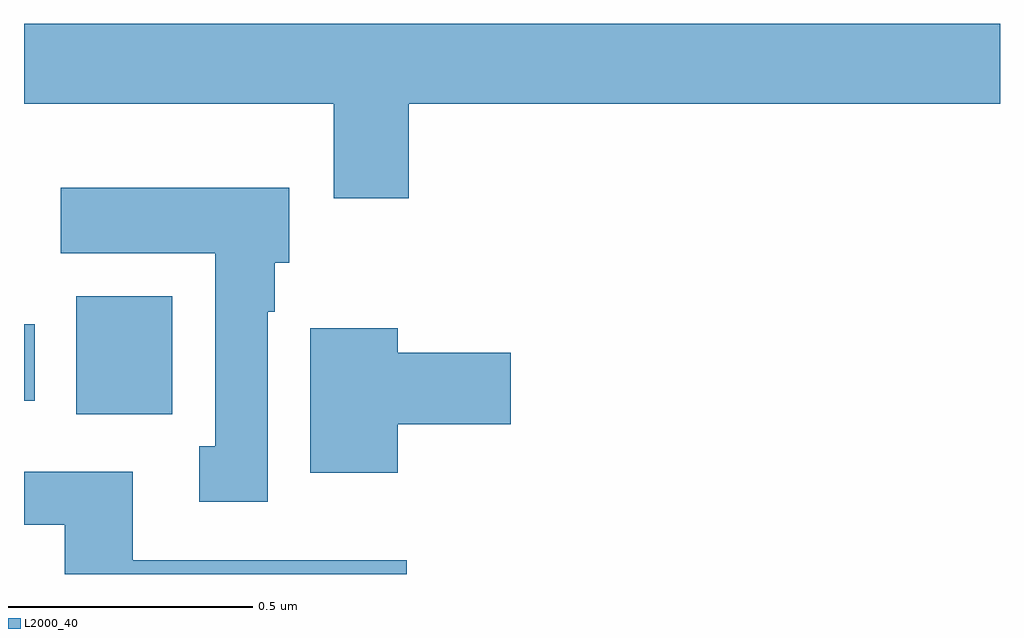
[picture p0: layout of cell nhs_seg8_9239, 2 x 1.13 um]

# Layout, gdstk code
import gdstk
lib = gdstk.Library(unit=1e-6, precision=1e-09)
def R(c, l, rs):  # rectangles x0, y0, x1, y1
    for r in rs: c.add(gdstk.rectangle(r[:2], r[2:], *l))
def P(c, l, *ps):  # polygons
    for p in ps: c.add(gdstk.Polygon(p, *l))
L2000_40 = (2000, 40)

nhs_seg8_9239 = lib.new_cell('nhs_seg8_9239')
R(nhs_seg8_9239, L2000_40, [(234.107,1085.228,234.304,1085.47), (234,1085.256,234.022,1085.412)])
P(nhs_seg8_9239, L2000_40, [(234.788,1085.864),(236,1085.864),(236,1086.028),(234,1086.028),(234,1085.864),(234.635,1085.864),(234.635,1085.67),(234.788,1085.67)],
  [(234.499,1085.438),(234.514,1085.438),(234.514,1085.538),(234.544,1085.538),(234.544,1085.692),(234.075,1085.692),(234.075,1085.558),(234.392,1085.558),(234.392,1085.162),(234.359,1085.162),(234.359,1085.049),(234.499,1085.049)],
  [(234.766,1085.207),(234.997,1085.207),(234.997,1085.354),(234.766,1085.354),(234.766,1085.404),(234.587,1085.404),(234.587,1085.108),(234.766,1085.108)],
  [(234.784,1084.929),(234.223,1084.929),(234.223,1085.11),(234,1085.11),(234,1085.001),(234.083,1085.001),(234.083,1084.9),(234.784,1084.9)])

lib.write_gds('nhs_seg8_9239.gds')
